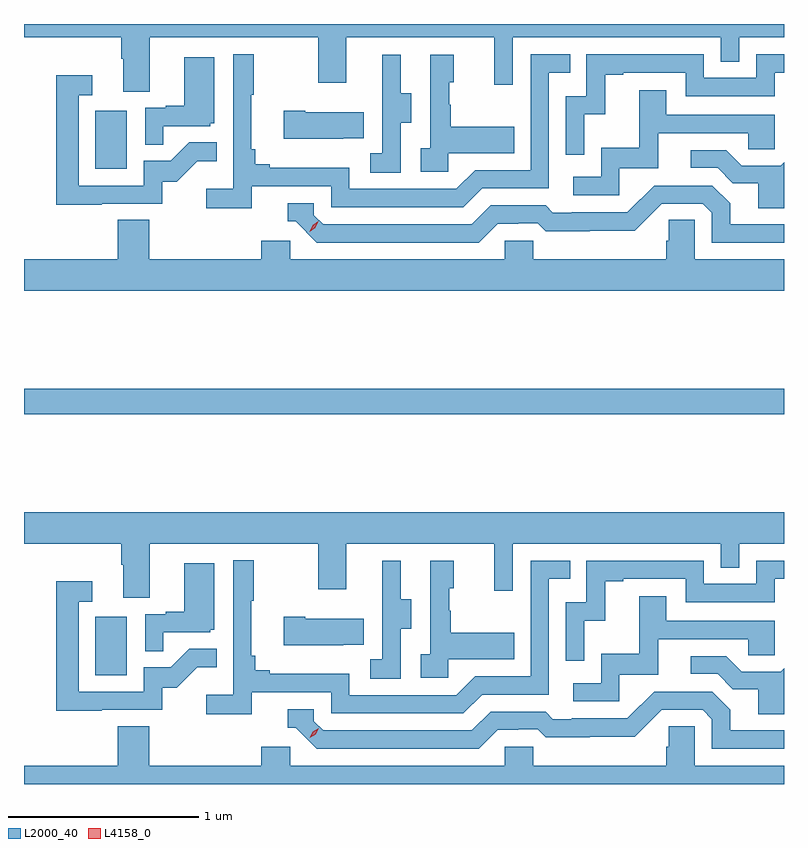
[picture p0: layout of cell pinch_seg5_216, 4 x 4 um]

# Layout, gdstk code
import gdstk
lib = gdstk.Library(unit=1e-6, precision=1e-09)
def R(c, l, rs):  # rectangles x0, y0, x1, y1
    for r in rs: c.add(gdstk.rectangle(r[:2], r[2:], *l))
def P(c, l, *ps):  # polygons
    for p in ps: c.add(gdstk.Polygon(p, *l))
L2000_40 = (2000, 40)
L4158_0 = (4158, 0)

pinch_seg5_216 = lib.new_cell('pinch_seg5_216')
R(pinch_seg5_216, L2000_40, [(964.298,896.028,964.462,896.335), (963.922,897.4,967.922,897.536), (964.298,898.692,964.462,898.999)])
P(pinch_seg5_216, L2000_40, [(964.585,899.384),(965.47,899.384),(965.47,899.145),(965.617,899.145),(965.617,899.384),(966.398,899.384),(966.398,899.136),(966.495,899.136),(966.495,899.384),(967.59,899.384),(967.59,899.257),(967.686,899.257),(967.686,899.384),(967.922,899.384),(967.922,899.455),(963.922,899.455),(963.922,899.384),(964.433,899.384),(964.433,899.272),(964.445,899.272),(964.445,899.098),(964.585,899.098)],
  [(965.12,898.602),(965.538,898.602),(965.538,898.491),(966.235,898.491),(966.334,898.59),(966.684,898.59),(966.684,899.199),(966.797,899.199),(966.797,899.295),(966.588,899.295),(966.588,898.686),(966.297,898.686),(966.198,898.587),(965.634,898.587),(965.634,898.699),(965.215,898.699),(965.215,898.718),(965.138,898.718),(965.138,898.795),(965.119,898.795),(965.119,899.083),(965.131,899.083),(965.131,899.296),(965.022,899.296),(965.022,898.588),(964.881,898.588),(964.881,898.486),(965.12,898.486)],
  [(966.87,898.979),(966.98,898.979),(966.98,899.187),(967.075,899.187),(967.075,899.199),(967.404,899.199),(967.404,899.076),(967.872,899.076),(967.872,899.199),(967.922,899.199),(967.922,899.295),(967.776,899.295),(967.776,899.172),(967.5,899.172),(967.5,899.295),(966.882,899.295),(966.882,899.076),(966.774,899.076),(966.774,898.767),(966.87,898.767)],
  [(965.904,898.936),(965.959,898.936),(965.959,899.091),(965.905,899.091),(965.905,899.293),(965.807,899.293),(965.807,899.079),(965.808,899.079),(965.808,898.775),(965.745,898.775),(965.745,898.672),(965.904,898.672)],
  [(966.156,898.775),(966.503,898.775),(966.503,898.915),(966.169,898.915),(966.169,899.03),(966.159,899.03),(966.159,899.148),(966.184,899.148),(966.184,899.293),(966.06,899.293),(966.06,898.802),(966.009,898.802),(966.009,898.677),(966.156,898.677)],
  [(964.655,898.917),(964.902,898.917),(964.902,898.932),(964.924,898.932),(964.924,899.281),(964.766,899.281),(964.766,899.026),(964.667,899.026),(964.667,899.013),(964.56,899.013),(964.56,898.819),(964.655,898.819)],
  [(964.331,898.509),(964.65,898.509),(964.65,898.626),(964.726,898.626),(964.833,898.733),(964.937,898.733),(964.937,898.832),(964.793,898.832),(964.695,898.734),(964.551,898.734),(964.551,898.605),(964.209,898.605),(964.209,899.079),(964.282,899.079),(964.282,899.185),(964.093,899.185),(964.093,898.504),(964.331,898.504)],
  [(967.056,898.695),(967.261,898.695),(967.261,898.881),(967.735,898.881),(967.735,898.797),(967.872,898.797),(967.872,898.977),(967.303,898.977),(967.303,899.107),(967.159,899.107),(967.159,898.804),(966.96,898.804),(966.96,898.65),(966.813,898.65),(966.813,898.554),(967.056,898.554)],
  [(965.603,898.853),(965.711,898.853),(965.711,898.99),(965.401,898.99),(965.401,898.998),(965.289,898.998),(965.289,898.85),(965.603,898.85)],
  [(967.922,898.727),(967.905,898.71),(967.699,898.71),(967.618,898.791),(967.431,898.791),(967.431,898.698),(967.572,898.698),(967.652,898.618),(967.787,898.618),(967.787,898.486),(967.922,898.486)],
  [(966.415,898.404),(966.522,898.404),(966.522,898.407),(966.625,898.407),(966.667,898.365),(966.9,898.365),(966.9,898.367),(967.136,898.367),(967.278,898.509),(967.494,898.509),(967.542,898.461),(967.542,898.305),(967.922,898.305),(967.922,898.401),(967.639,898.401),(967.639,898.511),(967.545,898.605),(967.239,898.605),(967.098,898.464),(966.805,898.464),(966.805,898.461),(966.706,898.461),(966.667,898.5),(966.378,898.5),(966.279,898.401),(965.496,898.401),(965.448,898.449),(965.448,898.512),(965.309,898.512),(965.309,898.416),(965.352,898.416),(965.463,898.305),(966.316,898.305)],
  [(965.171,898.314),(965.171,898.216),(964.58,898.216),(964.58,898.424),(964.415,898.424),(964.415,898.216),(963.922,898.216),(963.922,898.052),(967.922,898.052),(967.922,898.216),(967.452,898.216),(967.452,898.424),(967.315,898.424),(967.315,898.314),(967.301,898.314),(967.301,898.216),(966.603,898.216),(966.603,898.314),(966.453,898.314),(966.453,898.216),(965.322,898.216),(965.322,898.314)],
  [(964.585,896.72),(965.47,896.72),(965.47,896.481),(965.617,896.481),(965.617,896.72),(966.398,896.72),(966.398,896.472),(966.495,896.472),(966.495,896.72),(967.59,896.72),(967.59,896.593),(967.686,896.593),(967.686,896.72),(967.922,896.72),(967.922,896.884),(963.922,896.884),(963.922,896.72),(964.433,896.72),(964.433,896.608),(964.445,896.608),(964.445,896.434),(964.585,896.434)],
  [(965.12,895.938),(965.538,895.938),(965.538,895.827),(966.235,895.827),(966.334,895.926),(966.684,895.926),(966.684,896.535),(966.797,896.535),(966.797,896.631),(966.588,896.631),(966.588,896.022),(966.297,896.022),(966.198,895.923),(965.634,895.923),(965.634,896.035),(965.215,896.035),(965.215,896.054),(965.138,896.054),(965.138,896.131),(965.119,896.131),(965.119,896.419),(965.131,896.419),(965.131,896.632),(965.022,896.632),(965.022,895.924),(964.881,895.924),(964.881,895.822),(965.12,895.822)],
  [(966.87,896.315),(966.98,896.315),(966.98,896.523),(967.075,896.523),(967.075,896.535),(967.404,896.535),(967.404,896.412),(967.872,896.412),(967.872,896.535),(967.922,896.535),(967.922,896.631),(967.776,896.631),(967.776,896.508),(967.5,896.508),(967.5,896.631),(966.882,896.631),(966.882,896.412),(966.774,896.412),(966.774,896.103),(966.87,896.103)],
  [(965.904,896.272),(965.959,896.272),(965.959,896.427),(965.905,896.427),(965.905,896.629),(965.807,896.629),(965.807,896.415),(965.808,896.415),(965.808,896.111),(965.745,896.111),(965.745,896.008),(965.904,896.008)],
  [(966.156,896.111),(966.503,896.111),(966.503,896.251),(966.169,896.251),(966.169,896.366),(966.159,896.366),(966.159,896.484),(966.184,896.484),(966.184,896.629),(966.06,896.629),(966.06,896.138),(966.009,896.138),(966.009,896.013),(966.156,896.013)],
  [(964.655,896.253),(964.902,896.253),(964.902,896.268),(964.924,896.268),(964.924,896.617),(964.766,896.617),(964.766,896.362),(964.667,896.362),(964.667,896.349),(964.56,896.349),(964.56,896.155),(964.655,896.155)],
  [(964.331,895.845),(964.65,895.845),(964.65,895.962),(964.726,895.962),(964.833,896.069),(964.937,896.069),(964.937,896.168),(964.793,896.168),(964.695,896.07),(964.551,896.07),(964.551,895.941),(964.209,895.941),(964.209,896.415),(964.282,896.415),(964.282,896.521),(964.093,896.521),(964.093,895.84),(964.331,895.84)],
  [(967.056,896.031),(967.261,896.031),(967.261,896.217),(967.735,896.217),(967.735,896.133),(967.872,896.133),(967.872,896.313),(967.303,896.313),(967.303,896.443),(967.159,896.443),(967.159,896.14),(966.96,896.14),(966.96,895.986),(966.813,895.986),(966.813,895.89),(967.056,895.89)],
  [(965.603,896.189),(965.711,896.189),(965.711,896.326),(965.401,896.326),(965.401,896.334),(965.289,896.334),(965.289,896.186),(965.603,896.186)],
  [(967.922,896.063),(967.905,896.046),(967.699,896.046),(967.618,896.127),(967.431,896.127),(967.431,896.034),(967.572,896.034),(967.652,895.954),(967.787,895.954),(967.787,895.822),(967.922,895.822)],
  [(966.415,895.74),(966.522,895.74),(966.522,895.743),(966.625,895.743),(966.667,895.701),(966.9,895.701),(966.9,895.703),(967.136,895.703),(967.278,895.845),(967.494,895.845),(967.542,895.797),(967.542,895.641),(967.922,895.641),(967.922,895.737),(967.639,895.737),(967.639,895.847),(967.545,895.941),(967.239,895.941),(967.098,895.8),(966.805,895.8),(966.805,895.797),(966.706,895.797),(966.667,895.836),(966.378,895.836),(966.279,895.737),(965.496,895.737),(965.448,895.785),(965.448,895.848),(965.309,895.848),(965.309,895.752),(965.352,895.752),(965.463,895.641),(966.316,895.641)],
  [(967.922,895.552),(967.452,895.552),(967.452,895.76),(967.315,895.76),(967.315,895.65),(967.301,895.65),(967.301,895.552),(966.603,895.552),(966.603,895.65),(966.453,895.65),(966.453,895.552),(965.322,895.552),(965.322,895.65),(965.171,895.65),(965.171,895.552),(964.58,895.552),(964.58,895.76),(964.415,895.76),(964.415,895.552),(963.922,895.552),(963.922,895.455),(967.922,895.455)])
P(pinch_seg5_216, L4158_0, [(965.425,898.362),(965.425,898.363),(965.441,898.396),(965.471,898.416),(965.471,898.416),(965.471,898.415),(965.456,898.382),(965.426,898.362)],
  [(965.426,895.698),(965.426,895.698),(965.442,895.731),(965.473,895.749),(965.473,895.749),(965.473,895.749),(965.457,895.717),(965.426,895.698)])

lib.write_gds('pinch_seg5_216.gds')
